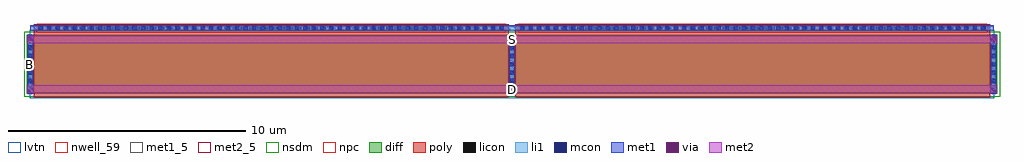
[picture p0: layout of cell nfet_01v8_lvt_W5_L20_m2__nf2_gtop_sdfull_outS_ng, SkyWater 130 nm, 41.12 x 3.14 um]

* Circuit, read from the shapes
.subckt nfet_01v8_lvt_W5_L20_m2__nf2_gtop_sdfull_outS_ng B D G S
XM1 D G S B sky130_fd_pr__nfet_01v8_lvt w=2.5 l=20 m=2
.ends

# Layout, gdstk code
import gdstk
lib = gdstk.Library(unit=1e-6, precision=1e-09)
def R(c, l, rs):  # rectangles x0, y0, x1, y1
    for r in rs: c.add(gdstk.rectangle(r[:2], r[2:], *l))
def A(c, l, x, y, w, h, nx, ny, dx, dy):  # array of equal rectangles
    R(c, l, [(x+i*dx, y+j*dy, x+i*dx+w, y+j*dy+h) for i in range(nx) for j in range(ny)])
nwell_59 = (64, 59)
diff = (65, 20)
poly = (66, 20)
licon = (66, 44)
li1 = (67, 20)
mcon = (67, 44)
met1_5 = (68, 5)
met1 = (68, 20)
via = (68, 44)
met2_5 = (69, 5)
met2 = (69, 20)
nsdm = (93, 44)
npc = (95, 20)
lvtn = (125, 44)

sky130_fd_pr__nfet_01v8_ = lib.new_cell('sky130_fd_pr__nfet_01v8_lvt_CTAP32')
R(sky130_fd_pr__nfet_01v8_, diff, [(-20.435,-1.405,20.435,1.095)])
R(sky130_fd_pr__nfet_01v8_, poly, [(-20.145,-1.535,-0.145,1.535), (0.145,-1.535,20.145,1.535)])
A(sky130_fd_pr__nfet_01v8_, licon, -20.375, -1.26, 0.17, 0.17, 3, 7, 20.29, 0.34)
A(sky130_fd_pr__nfet_01v8_, licon, -19.92, 1.285, 0.17, 0.17, 58, 1, 0.34, 0)
A(sky130_fd_pr__nfet_01v8_, licon, 0.37, 1.285, 0.17, 0.17, 58, 1, 0.34, 0)
A(sky130_fd_pr__nfet_01v8_, li1, -20.375, -1.425, 0.17, 2.54, 3, 1, 20.29, 0)
R(sky130_fd_pr__nfet_01v8_, li1, [(-20.29,1.285,20.29,1.455)])
A(sky130_fd_pr__nfet_01v8_, mcon, -20.375, -1.32, 0.17, 0.17, 3, 7, 20.29, 0.36)
A(sky130_fd_pr__nfet_01v8_, mcon, -19.95, 1.285, 0.17, 0.17, 55, 1, 0.36, 0)
A(sky130_fd_pr__nfet_01v8_, mcon, 0.34, 1.285, 0.17, 0.17, 55, 1, 0.36, 0)
A(sky130_fd_pr__nfet_01v8_, met1, -20.405, -1.405, 0.23, 2.5, 3, 1, 20.29, 0)
R(sky130_fd_pr__nfet_01v8_, met1, [(-20.125,1.255,-0.165,1.285), (0.165,1.255,20.125,1.285), (-20.29,1.285,20.29,1.455), (-20.125,1.455,-0.165,1.485), (0.165,1.455,20.125,1.485)])
R(sky130_fd_pr__nfet_01v8_, nsdm, [(-20.56,-1.53,20.56,1.22)])
R(sky130_fd_pr__nfet_01v8_, npc, [(-20.02,1.185,-0.27,1.555), (0.27,1.185,20.02,1.555)])
R(sky130_fd_pr__nfet_01v8_, lvtn, [(-20.325,-1.585,20.325,1.275)])
sky130_fd_pr__nfet_01v8_.add(gdstk.Label('D0', (-20.29,-0.155), layer=67, texttype=5))
sky130_fd_pr__nfet_01v8_.add(gdstk.Label('G', (10.145,1.37), layer=67, texttype=5))
sky130_fd_pr__nfet_01v8_.add(gdstk.Label('G', (-10.145,1.37), layer=67, texttype=5))
sky130_fd_pr__nfet_01v8_.add(gdstk.Label('S1', (0,-0.155), layer=67, texttype=5))

nfet_01v8_lvt_w5_l20_m2_ = lib.new_cell('nfet_01v8_lvt_W5_L20_m2__nf2_gtop_sdfull_outS_ng')
R(nfet_01v8_lvt_w5_l20_m2_, nwell_59, [(0.05,1.33,0.15,1.43)])
R(nfet_01v8_lvt_w5_l20_m2_, met1_5, [(0.145,2.79,40.725,3.02)])
R(nfet_01v8_lvt_w5_l20_m2_, met1, [(20.305,0.18,20.565,0.5), (0.015,2.26,0.275,2.58), (40.595,2.26,40.855,2.58), (0.145,2.79,40.725,3.02)])
R(nfet_01v8_lvt_w5_l20_m2_, via, [(20.36,0.265,20.51,0.415), (0.07,2.345,0.22,2.495), (40.65,2.345,40.8,2.495)])
R(nfet_01v8_lvt_w5_l20_m2_, met2_5, [(0.01,0.18,40.86,0.5), (0.01,2.26,40.86,2.58)])
R(nfet_01v8_lvt_w5_l20_m2_, met2, [(0.01,0.18,40.86,0.5), (0.01,2.26,40.86,2.58)])
nfet_01v8_lvt_w5_l20_m2_.add(gdstk.Reference(sky130_fd_pr__nfet_01v8_, (20.435,1.535)))
nfet_01v8_lvt_w5_l20_m2_.add(gdstk.Label('S', (20.435,2.42), layer=69, texttype=5))
nfet_01v8_lvt_w5_l20_m2_.add(gdstk.Label('D', (20.435,0.34), layer=69, texttype=5))
nfet_01v8_lvt_w5_l20_m2_.add(gdstk.Label('G', (20.435,2.905), layer=68, texttype=5))
nfet_01v8_lvt_w5_l20_m2_.add(gdstk.Label('B', (0.1,1.38), layer=64, texttype=59))

lib.write_gds('nfet_01v8_lvt_W5_L20_m2__nf2_gtop_sdfull_outS_ng.gds')
